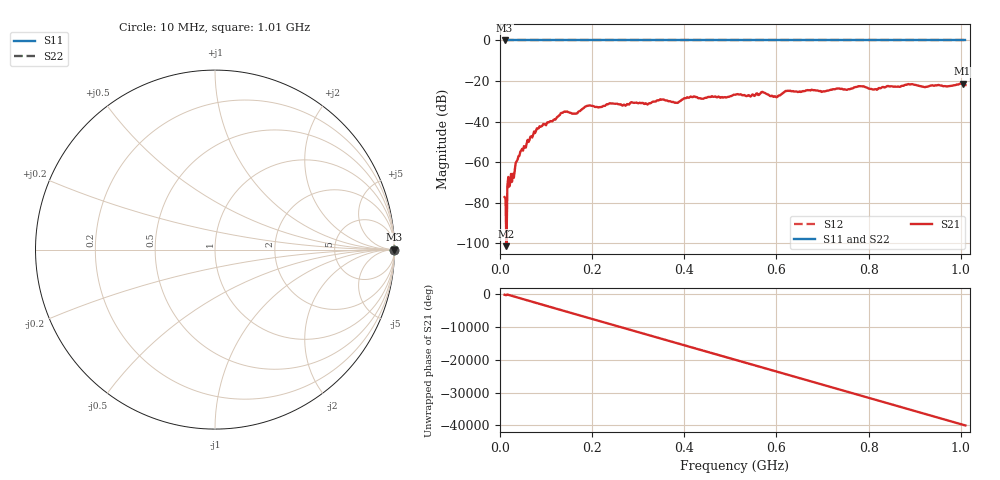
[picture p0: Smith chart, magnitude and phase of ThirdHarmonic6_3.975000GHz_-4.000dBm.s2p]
! 8/17/2025 2:08:38 PM
! C:\ANRITSUVNA\TEMP\TEMP.S2P
! CHANNEL.1
! TR.MEASUREMENT
! RAW.DATA
! RF.CORRECTION.OFF
! AVERAGING.OFF
! IF.BANDWIDTH: 5KHZ
! SWEEPTYPE:  FREQ.SWEEP(Linear)
! Reference Plane Port Info
! PORT:  PORT1  PORT2
! DISTANCE:  0  m  0  m
! TIME:  0  s  0  s
! PHASE.OFFSET:  0  deg.  0  deg.
! LOSS:  0  dB  0  dB
! REF.LOSS:  0  dB  0  dB
! REF.FREQ:  0  Hz  0  Hz
! Power Info
! POWER:  -20  dBm  -20  dBm
! EFF.POWER:  -20  dBm  -20  dBm
! SOURCE.ATTEN:  0  dB  0  dB
! TEST.ATTEN:  0  dB  0  dB
# GHZ S RI R 50.0
! FREQ.GHZ  S11RE  S11IM  S21RE  S21IM  S12RE  S12IM  S22RE  S22IM
!; PortSelection: Port_12
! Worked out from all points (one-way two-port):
!   501 points, 10 MHz to 1.01 GHz, reference 50 ohm
!   highest |S21| = -21.31 dB at 1.004 GHz (marker M1); lowest = -101.5 dB at 14 MHz (marker M2)
!   lowest |S11| = 0.0 dB at 10 MHz (marker M3)
!   |S11| at or under -10 dB: nowhere
!   |S22| runs from 0.0 to 0.0 dB; largest |S21 - S12| = 1.1
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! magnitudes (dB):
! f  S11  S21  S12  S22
! 10 MHz  0.0  -77.3  0.0  0.0
! 14 MHz  0.0  -101.5  0.0  0.0
! 20 MHz  0.0  -72.1  0.0  0.0
! 26 MHz  0.0  -69.7  0.0  0.0
! 44 MHz  0.0  -54.9  0.0  0.0
! 78 MHz  0.0  -44.6  0.0  0.0
! 136 MHz  0.0  -35.7  0.0  0.0
! 164 MHz  0.0  -36.1  0.0  0.0
! 178 MHz  0.0  -33.9  0.0  0.0
! 192 MHz  0.0  -32.1  0.0  0.0
! 322 MHz  0.0  -31.3  0.0  0.0
! 344 MHz  0.0  -29.6  0.0  0.0
! 382 MHz  0.0  -30.7  0.0  0.0
! 410 MHz  0.0  -28.3  0.0  0.0
! 510 MHz  0.0  -26.7  0.0  0.0
! 570 MHz  0.0  -25.4  0.0  0.0
! 598 MHz  0.0  -27.6  0.0  0.0
! 622 MHz  0.0  -24.9  0.0  0.0
! 678 MHz  0.0  -24.4  0.0  0.0
! 844 MHz  0.0  -22.6  0.0  0.0
! 1.004 GHz  0.0  -21.3  0.0  0.0
! 1.01 GHz  0.0  -22.0  0.0  0.0
